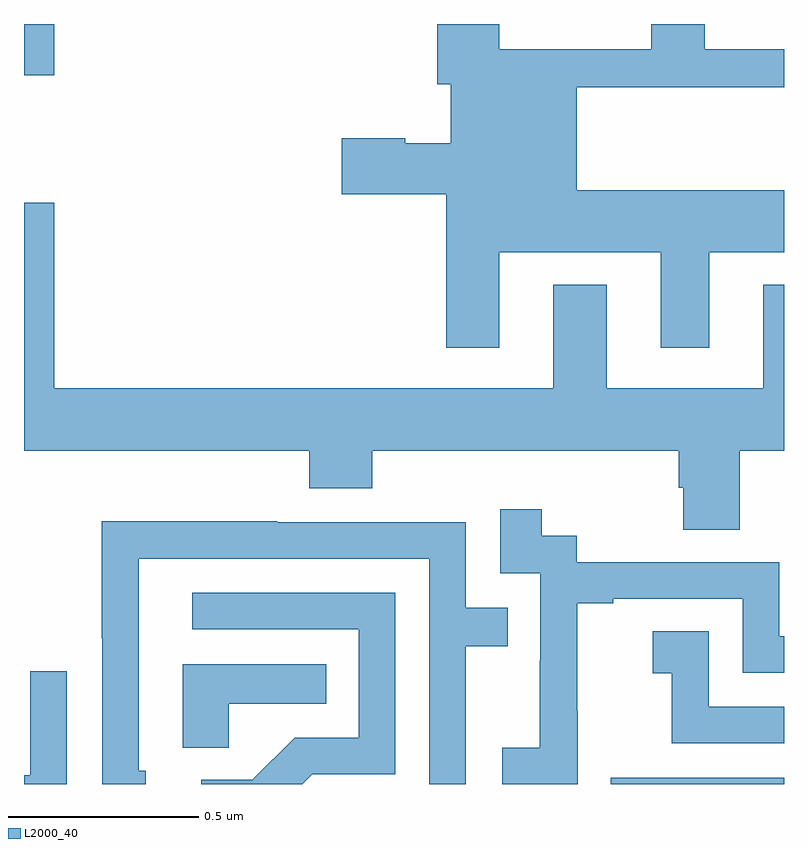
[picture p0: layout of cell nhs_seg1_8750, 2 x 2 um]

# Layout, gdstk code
import gdstk
lib = gdstk.Library(unit=1e-6, precision=1e-09)
def R(c, l, rs):  # rectangles x0, y0, x1, y1
    for r in rs: c.add(gdstk.rectangle(r[:2], r[2:], *l))
def P(c, l, *ps):  # polygons
    for p in ps: c.add(gdstk.Polygon(p, *l))
L2000_40 = (2000, 40)

nhs_seg1_8750 = lib.new_cell('nhs_seg1_8750')
R(nhs_seg1_8750, L2000_40, [(221.544,540.199,222,540.216), (220,542.064,220.079,542.199)])
P(nhs_seg1_8750, L2000_40, [(221.251,541.598),(221.675,541.598),(221.675,541.347),(221.803,541.347),(221.803,541.598),(222,541.598),(222,541.762),(221.455,541.762),(221.455,542.032),(222,542.032),(222,542.133),(221.791,542.133),(221.791,542.199),(221.651,542.199),(221.651,542.133),(221.251,542.133),(221.251,542.199),(221.087,542.199),(221.087,542.04),(221.123,542.04),(221.123,541.885),(221.003,541.885),(221.003,541.898),(220.836,541.898),(220.836,541.751),(221.111,541.751),(221.111,541.347),(221.251,541.347)],
  [(221.883,541.076),(222,541.076),(222,541.513),(221.945,541.513),(221.945,541.24),(221.533,541.24),(221.533,541.513),(221.393,541.513),(221.393,541.24),(220.079,541.24),(220.079,541.729),(220,541.729),(220,541.076),(220.751,541.076),(220.751,540.977),(220.916,540.977),(220.916,541.076),(221.723,541.076),(221.723,540.978),(221.735,540.978),(221.735,540.868),(221.883,540.868)],
  [(221.457,540.391),(221.456,540.391),(221.456,540.675),(221.551,540.675),(221.551,540.687),(221.892,540.687),(221.892,540.492),(222,540.492),(222,540.588),(221.988,540.588),(221.988,540.783),(221.454,540.783),(221.454,540.852),(221.362,540.852),(221.362,540.922),(221.253,540.922),(221.253,540.753),(221.358,540.753),(221.358,540.524),(221.357,540.524),(221.357,540.295),(221.259,540.295),(221.259,540.199),(221.457,540.199)],
  [(220.321,540.234),(220.302,540.234),(220.302,540.792),(221.067,540.792),(221.067,540.199),(221.163,540.199),(221.163,540.562),(221.273,540.562),(221.273,540.663),(221.163,540.663),(221.163,540.888),(220.667,540.888),(220.667,540.89),(220.204,540.89),(220.204,540.583),(220.206,540.583),(220.206,540.199),(220.321,540.199)],
  [(220.758,540.225),(220.977,540.225),(220.977,540.702),(220.443,540.702),(220.443,540.606),(220.881,540.606),(220.881,540.321),(220.712,540.321),(220.601,540.21),(220.467,540.21),(220.467,540.199),(220.732,540.199)],
  [(222,540.402),(221.802,540.402),(221.802,540.601),(221.655,540.601),(221.655,540.491),(221.704,540.491),(221.704,540.306),(222,540.306)],
  [(220.539,540.41),(220.796,540.41),(220.796,540.514),(220.418,540.514),(220.418,540.295),(220.539,540.295)],
  [(220.113,540.496),(220.017,540.496),(220.017,540.222),(220,540.222),(220,540.199),(220.113,540.199)])

lib.write_gds('nhs_seg1_8750.gds')
